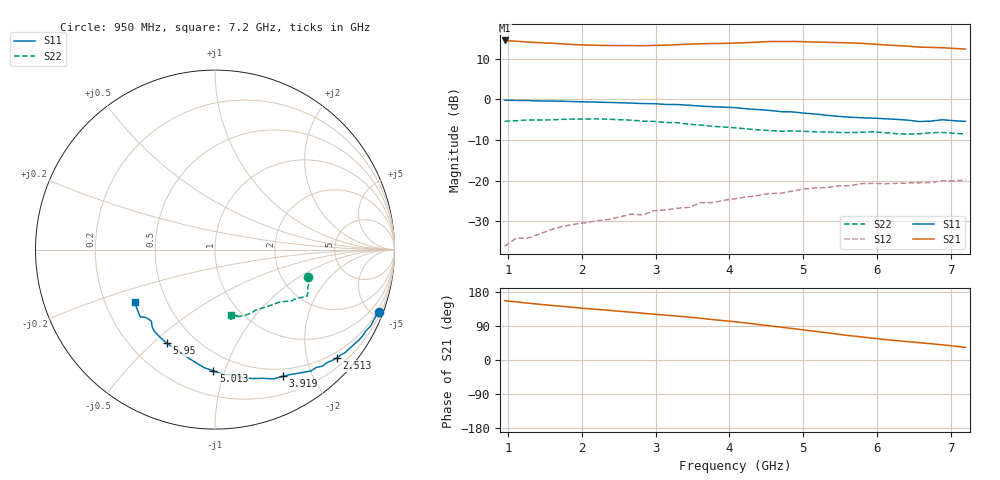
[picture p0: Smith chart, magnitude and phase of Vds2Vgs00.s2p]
!Keysight Technologies,M9375A,US54320202,A.12.55.09
!Date: Monday, July 10, 2023 14:29:57
!Correction: S11(Full 2 Port(1,2))
!S21(Full 2 Port(1,2))
!S12(Full 2 Port(1,2))
!S22(Full 2 Port(1,2))
!S2P File: Measurements: S11, S21, S12, S22:
# Hz S  RI  R 50
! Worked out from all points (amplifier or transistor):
!   41 points, 950 MHz to 7.2 GHz, reference 50 ohm
!   highest |S21| = 14.5 dB at 950 MHz (marker M1)
!   |S21| within 3 dB of that: start of sweep to end of sweep
!   unconditionally stable (mu >= 1): nowhere
!   at 1.887 GHz: K = 0.45, MSG = 22.1 dB, |S12| = -30.7 dB
!   at 4.075 GHz: K = 0.76, MSG = 19.2 dB, |S12| = -24.5 dB
!   at 7.2 GHz: K = 0.99, MSG = 16.1 dB, |S12| = -19.9 dB
!   S11 on the Smith chart (normalised r, x): 950 MHz: 0.39, -5.44; 2.513 GHz: 0.38, -2.58; 3.919 GHz: 0.41, -1.60; 5.013 GHz: 0.37, -0.92; 5.95 GHz: 0.35, -0.55; 7.2 GHz: 0.33, -0.27
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9.5e8  0.9119 -0.3451  -4.864 2.105  0.00421 0.015  0.5159 -0.1514
1.10625e9  0.8896 -0.3829  -4.63 2.33  0.00535 0.0188  0.5155 -0.1763
1.2625e9  0.8672 -0.4261  -4.395 2.529  0.00732 0.0182  0.5253 -0.1863
1.575e9  0.822 -0.4817  -3.982 2.871  0.00965 0.0228  0.5167 -0.2129
2.04375e9  0.749 -0.551  -3.348 3.243  0.0138 0.027  0.5125 -0.2537
2.5125e9  0.6789 -0.6033  -2.853 3.591  0.0181 0.0308  0.4963 -0.261
3.1375e9  0.565 -0.656  -2.189 4.08  0.0245 0.0362  0.4378 -0.2788
3.45e9  0.4983 -0.6828  -1.88 4.391  0.0298 0.0362  0.4009 -0.2873
3.7625e9  0.4146 -0.6968  -1.412 4.653  0.037 0.0387  0.3629 -0.2927
3.91875e9  0.3789 -0.7056  -1.169 4.725  0.0394 0.0413  0.3476 -0.296
4.075e9  0.3252 -0.7206  -0.9466 4.838  0.0433 0.0412  0.3236 -0.3067
4.54375e9  0.1541 -0.7138  -0.0142 5.138  0.0542 0.0434  0.2461 -0.3307
4.85625e9  0.051 -0.6982  0.6304 5.107  0.0627 0.04  0.204 -0.3533
5.0125e9  -0.00935 -0.6756  0.9563 5.026  0.0691 0.0383  0.1755 -0.3627
5.16875e9  -0.0644 -0.6559  1.289 4.896  0.072 0.0378  0.1494 -0.3693
5.6375e9  -0.195 -0.5697  2.165 4.445  0.0808 0.0315  0.1052 -0.3749
5.79375e9  -0.235 -0.5439  2.377 4.269  0.0865 0.0308  0.098 -0.3811
5.95e9  -0.2701 -0.5207  2.573 4.029  0.0884 0.0272  0.0879 -0.3888
6.2625e9  -0.3394 -0.4536  2.876 3.572  0.0909 0.0169  0.0856 -0.3689
6.575e9  -0.3545 -0.3982  3.066 3.142  0.0931 0.014  0.1147 -0.3592
6.8875e9  -0.4175 -0.3741  3.298 2.778  0.0995 0.00792  0.1233 -0.3713
7.2e9  -0.4477 -0.2936  3.466 2.28  0.1014 6.23e-05  0.0893 -0.3641
